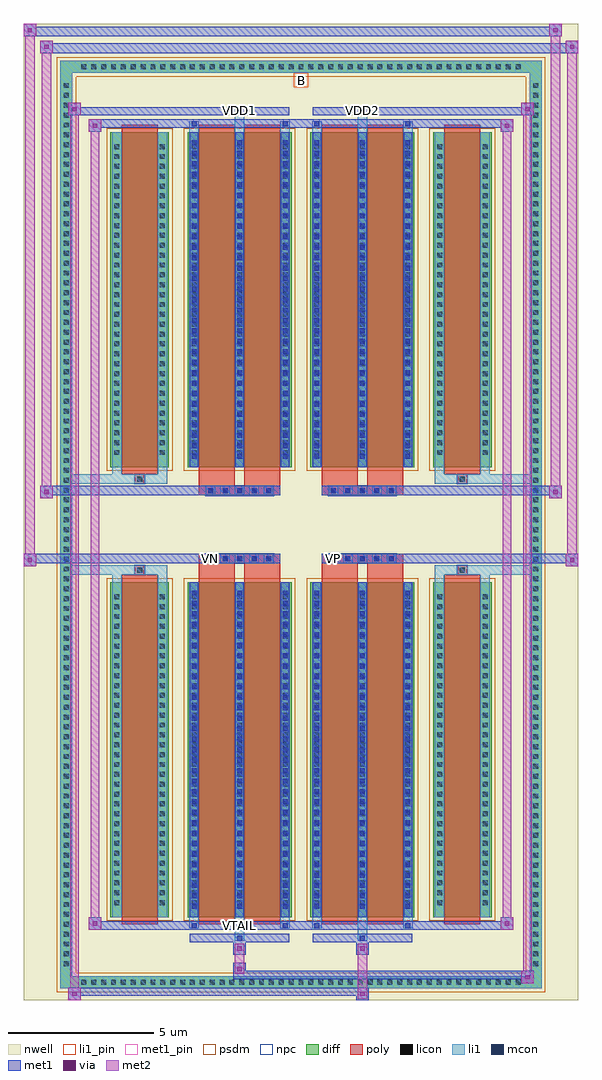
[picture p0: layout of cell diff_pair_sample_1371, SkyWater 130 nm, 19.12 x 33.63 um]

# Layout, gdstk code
import gdstk
lib = gdstk.Library(unit=1e-6, precision=5e-09)
def R(c, l, rs):  # rectangles x0, y0, x1, y1
    for r in rs: c.add(gdstk.rectangle(r[:2], r[2:], *l))
def A(c, l, x, y, w, h, nx, ny, dx, dy):  # array of equal rectangles
    R(c, l, [(x+i*dx, y+j*dy, x+i*dx+w, y+j*dy+h) for i in range(nx) for j in range(ny)])
def P(c, l, *ps):  # polygons
    for p in ps: c.add(gdstk.Polygon(p, *l))
nwell = (64, 20)
diff = (65, 20)
poly = (66, 20)
licon = (66, 44)
li1_pin = (67, 16)
li1 = (67, 20)
mcon = (67, 44)
met1_pin = (68, 16)
met1 = (68, 20)
via = (68, 44)
met2 = (69, 20)
psdm = (94, 20)
npc = (95, 20)

diff_pair_sample_1371 = lib.new_cell('diff_pair_sample_1371')
R(diff_pair_sample_1371, nwell, [(-9.56,-16.38,9.56,17.25), (-6.88,-14.57,-0.01,-0.805), (0.01,-14.57,6.88,-0.805), (-6.88,0.805,-0.01,14.57), (0.01,0.805,6.88,14.57)])
A(diff_pair_sample_1371, diff, -7.685, -15.98, 0.41, 0.41, 45, 2, 0.34, 31.55)
A(diff_pair_sample_1371, diff, -8.29, -15.335, 0.41, 0.41, 1, 90, 0, 0.34)
A(diff_pair_sample_1371, diff, 7.88, -15.335, 0.41, 0.41, 1, 90, 0, 0.34)
R(diff_pair_sample_1371, diff, [(-7.685,-15.98,7.685,-15.57), (-8.29,-15.335,-7.88,15.335), (7.88,-15.335,8.29,15.335), (-6.57,-13.525,-4.55,-1.985), (-3.91,-13.525,-0.32,-1.985), (0.32,-13.525,3.91,-1.985), (4.55,-13.525,6.57,-1.985), (-6.57,1.985,-4.55,13.525), (-3.91,1.985,-0.32,13.525), (0.32,1.985,3.91,13.525), (4.55,1.985,6.57,13.525), (-7.685,15.57,7.685,15.98)])
P(diff_pair_sample_1371, diff, [(8.29,15.98),(-8.29,15.98),(-8.29,-15.57),(-7.88,-15.57),(-7.88,15.57),(7.88,15.57),(7.88,-15.57),(-7.88,-15.57),(-8.29,-15.57),(-8.29,-15.98),(8.29,-15.98)])
A(diff_pair_sample_1371, poly, -3.28, -1.335, 0.33, 0.33, 5, 2, 0.5, 2.34)
A(diff_pair_sample_1371, poly, 0.95, -1.335, 0.33, 0.33, 5, 2, 0.5, 2.34)
R(diff_pair_sample_1371, poly, [(-6.18,-13.775,-4.94,-1.735), (-3.52,-13.775,-2.28,-1.735), (-1.95,-13.775,-0.71,-1.735), (0.71,-13.775,1.95,-1.735), (2.28,-13.775,3.52,-1.735), (4.94,-13.775,6.18,-1.735), (-5.725,-1.735,-5.395,-1.405), (-5.725,-1.735,-5.395,-1.405), (-3.52,-1.735,-2.28,-1.335), (-1.95,-1.735,-0.71,-1.335), (0.71,-1.735,1.95,-1.335), (2.28,-1.735,3.52,-1.335), (5.395,-1.735,5.725,-1.405), (5.395,-1.735,5.725,-1.405), (-3.52,-1.335,-0.71,-1.005), (0.71,-1.335,3.52,-1.005), (-3.52,1.005,-0.71,1.335), (0.71,1.005,3.52,1.335), (-3.52,1.335,-2.28,1.735), (-1.95,1.335,-0.71,1.735), (0.71,1.335,1.95,1.735), (2.28,1.335,3.52,1.735), (-5.725,1.405,-5.395,1.735), (-5.725,1.405,-5.395,1.735), (5.395,1.405,5.725,1.735), (5.395,1.405,5.725,1.735), (-6.18,1.735,-4.94,13.775), (-3.52,1.735,-2.28,13.775), (-1.95,1.735,-0.71,13.775), (0.71,1.735,1.95,13.775), (2.28,1.735,3.52,13.775), (4.94,1.735,6.18,13.775)])
A(diff_pair_sample_1371, licon, -7.565, -15.86, 0.17, 0.17, 45, 2, 0.34, 31.55)
A(diff_pair_sample_1371, licon, -8.17, -15.215, 0.17, 0.17, 1, 90, 0, 0.34)
A(diff_pair_sample_1371, licon, 8, -15.215, 0.17, 0.17, 1, 90, 0, 0.34)
A(diff_pair_sample_1371, licon, -6.43, -13.11, 0.17, 0.17, 1, 32, 0, 0.34)
A(diff_pair_sample_1371, licon, -4.86, -13.11, 0.17, 0.17, 1, 32, 0, 0.34)
A(diff_pair_sample_1371, licon, -3.77, -13.11, 0.17, 0.17, 3, 32, 1.57, 0.34)
A(diff_pair_sample_1371, licon, 0.46, -13.11, 0.17, 0.17, 3, 32, 1.57, 0.34)
A(diff_pair_sample_1371, licon, 4.69, -13.11, 0.17, 0.17, 1, 32, 0, 0.34)
A(diff_pair_sample_1371, licon, 6.26, -13.11, 0.17, 0.17, 1, 32, 0, 0.34)
A(diff_pair_sample_1371, licon, -3.2, -1.255, 0.17, 0.17, 5, 2, 0.5, 2.34)
A(diff_pair_sample_1371, licon, 1.03, -1.255, 0.17, 0.17, 5, 2, 0.5, 2.34)
A(diff_pair_sample_1371, licon, -6.43, 2.4, 0.17, 0.17, 1, 32, 0, 0.34)
A(diff_pair_sample_1371, licon, -4.86, 2.4, 0.17, 0.17, 1, 32, 0, 0.34)
A(diff_pair_sample_1371, licon, -3.77, 2.4, 0.17, 0.17, 3, 32, 1.57, 0.34)
A(diff_pair_sample_1371, licon, 0.46, 2.4, 0.17, 0.17, 3, 32, 1.57, 0.34)
A(diff_pair_sample_1371, licon, 4.69, 2.4, 0.17, 0.17, 1, 32, 0, 0.34)
A(diff_pair_sample_1371, licon, 6.26, 2.4, 0.17, 0.17, 1, 32, 0, 0.34)
R(diff_pair_sample_1371, licon, [(-5.645,-1.655,-5.475,-1.485), (5.475,-1.655,5.645,-1.485), (-5.645,1.485,-5.475,1.655), (5.475,1.485,5.645,1.655)])
R(diff_pair_sample_1371, li1_pin, [(-0.25,15.07,0.25,15.57)])
A(diff_pair_sample_1371, li1, -7.645, -15.94, 0.33, 0.33, 45, 2, 0.34, 31.55)
A(diff_pair_sample_1371, li1, -8.25, -15.295, 0.33, 0.33, 1, 90, 0, 0.34)
A(diff_pair_sample_1371, li1, 7.92, -15.295, 0.33, 0.33, 1, 90, 0, 0.34)
A(diff_pair_sample_1371, li1, -3.85, -13.525, 0.33, 11.54, 3, 2, 1.57, 15.51)
A(diff_pair_sample_1371, li1, 0.38, -13.525, 0.33, 11.54, 3, 2, 1.57, 15.51)
A(diff_pair_sample_1371, li1, -3.77, -13.24, 0.17, 0.17, 3, 31, 1.57, 0.36)
A(diff_pair_sample_1371, li1, -3.77, -13.24, 0.17, 10.97, 3, 2, 1.57, 15.51)
A(diff_pair_sample_1371, li1, 0.46, -13.24, 0.17, 0.17, 3, 31, 1.57, 0.36)
A(diff_pair_sample_1371, li1, 0.46, -13.24, 0.17, 10.97, 3, 2, 1.57, 15.51)
A(diff_pair_sample_1371, li1, -6.51, -13.19, 0.33, 0.33, 1, 32, 0, 0.34)
A(diff_pair_sample_1371, li1, -4.94, -13.19, 0.33, 0.33, 1, 32, 0, 0.34)
A(diff_pair_sample_1371, li1, -3.85, -13.19, 0.33, 0.33, 3, 32, 1.57, 0.34)
A(diff_pair_sample_1371, li1, 0.38, -13.19, 0.33, 0.33, 3, 32, 1.57, 0.34)
A(diff_pair_sample_1371, li1, 4.61, -13.19, 0.33, 0.33, 1, 32, 0, 0.34)
A(diff_pair_sample_1371, li1, 6.18, -13.19, 0.33, 0.33, 1, 32, 0, 0.34)
A(diff_pair_sample_1371, li1, -3.28, -1.335, 0.33, 0.33, 5, 2, 0.5, 2.34)
A(diff_pair_sample_1371, li1, 0.95, -1.335, 0.33, 0.33, 5, 2, 0.5, 2.34)
A(diff_pair_sample_1371, li1, -3.77, 2.27, 0.17, 0.17, 3, 31, 1.57, 0.36)
A(diff_pair_sample_1371, li1, 0.46, 2.27, 0.17, 0.17, 3, 31, 1.57, 0.36)
A(diff_pair_sample_1371, li1, -6.51, 2.32, 0.33, 0.33, 1, 32, 0, 0.34)
A(diff_pair_sample_1371, li1, -4.94, 2.32, 0.33, 0.33, 1, 32, 0, 0.34)
A(diff_pair_sample_1371, li1, -3.85, 2.32, 0.33, 0.33, 3, 32, 1.57, 0.34)
A(diff_pair_sample_1371, li1, 0.38, 2.32, 0.33, 0.33, 3, 32, 1.57, 0.34)
A(diff_pair_sample_1371, li1, 4.61, 2.32, 0.33, 0.33, 1, 32, 0, 0.34)
A(diff_pair_sample_1371, li1, 6.18, 2.32, 0.33, 0.33, 1, 32, 0, 0.34)
R(diff_pair_sample_1371, li1, [(-8.29,-15.98,-7.88,-15.57), (-8.29,-15.98,-7.88,-15.57), (-7.88,-15.98,7.88,-15.57), (7.88,-15.98,8.29,-15.57), (7.88,-15.98,8.29,-15.57), (-8.29,-15.57,-7.88,15.57), (7.88,-15.57,8.29,15.57), (-2.28,-14.33,-1.95,-13.525), (-2.2,-14.33,-2.03,-14.16), (1.95,-14.33,2.28,-13.525), (2.03,-14.33,2.2,-14.16), (-3.85,-13.9,-3.52,-13.525), (-3.77,-13.9,-3.6,-13.73), (-0.71,-13.9,-0.38,-13.525), (-0.63,-13.9,-0.46,-13.73), (0.38,-13.9,0.71,-13.525), (0.46,-13.9,0.63,-13.73), (3.52,-13.9,3.85,-13.525), (3.6,-13.9,3.77,-13.73), (-6.51,-13.525,-6.18,-1.985), (-4.94,-13.525,-4.61,-1.985), (4.61,-13.525,4.94,-1.985), (6.18,-13.525,6.51,-1.985), (-6.51,-1.985,-6.18,-1.405), (-4.94,-1.985,-4.61,-1.405), (4.61,-1.985,4.94,-1.405), (6.18,-1.985,6.51,-1.405), (-8.29,-1.735,-5.725,-1.405), (-6.51,-1.735,-5.725,-1.405), (-5.725,-1.735,-5.395,-1.405), (-5.395,-1.735,-4.61,-1.405), (4.61,-1.735,5.395,-1.405), (5.395,-1.735,5.725,-1.405), (5.395,-1.735,8.29,-1.405), (5.725,-1.735,6.51,-1.405), (-8.29,1.405,-5.725,1.735), (-6.51,1.405,-5.725,1.735), (-6.51,1.405,-6.18,1.985), (-5.725,1.405,-5.395,1.735), (-5.395,1.405,-4.61,1.735), (-4.94,1.405,-4.61,1.985), (4.61,1.405,5.395,1.735), (4.61,1.405,4.94,1.985), (5.395,1.405,5.725,1.735), (5.395,1.405,8.29,1.735), (5.725,1.405,6.51,1.735), (6.18,1.405,6.51,1.985), (-6.51,1.985,-6.18,13.525), (-4.94,1.985,-4.61,13.525), (4.61,1.985,4.94,13.525), (6.18,1.985,6.51,13.525), (-3.85,13.525,-3.52,13.9), (-2.28,13.525,-1.95,14.33), (-0.71,13.525,-0.38,13.9), (0.38,13.525,0.71,13.9), (1.95,13.525,2.28,14.33), (3.52,13.525,3.85,13.9), (-3.77,13.73,-3.6,13.9), (-0.63,13.73,-0.46,13.9), (0.46,13.73,0.63,13.9), (3.6,13.73,3.77,13.9), (-2.2,14.16,-2.03,14.33), (2.03,14.16,2.2,14.33), (-8.29,15.57,-7.88,15.98), (-8.29,15.57,-7.88,15.98), (-7.88,15.57,7.88,15.98), (7.88,15.57,8.29,15.98), (7.88,15.57,8.29,15.98)])
A(diff_pair_sample_1371, mcon, -3.77, -13.24, 0.17, 0.17, 3, 31, 1.57, 0.36)
A(diff_pair_sample_1371, mcon, 0.46, -13.24, 0.17, 0.17, 3, 31, 1.57, 0.36)
A(diff_pair_sample_1371, mcon, -3.2, -1.255, 0.17, 0.17, 5, 2, 0.5, 2.34)
A(diff_pair_sample_1371, mcon, 1.03, -1.255, 0.17, 0.17, 5, 2, 0.5, 2.34)
A(diff_pair_sample_1371, mcon, -3.77, 2.27, 0.17, 0.17, 3, 31, 1.57, 0.36)
A(diff_pair_sample_1371, mcon, 0.46, 2.27, 0.17, 0.17, 3, 31, 1.57, 0.36)
R(diff_pair_sample_1371, mcon, [(-2.2,-14.33,-2.03,-14.16), (2.03,-14.33,2.2,-14.16), (-3.77,-13.9,-3.6,-13.73), (-0.63,-13.9,-0.46,-13.73), (0.46,-13.9,0.63,-13.73), (3.6,-13.9,3.77,-13.73), (-3.77,13.73,-3.6,13.9), (-0.63,13.73,-0.46,13.9), (0.46,13.73,0.63,13.9), (3.6,13.73,3.77,13.9), (-2.2,14.16,-2.03,14.33), (2.03,14.16,2.2,14.33)])
R(diff_pair_sample_1371, met1_pin, [(-2.25,-13.94,-1.98,-13.67), (-3.25,-1.295,-2.98,-1.025), (0.98,-1.295,1.25,-1.025), (-2.25,14.12,-1.98,14.39), (1.98,14.12,2.25,14.39)])
A(diff_pair_sample_1371, met1, -3.83, -13.525, 0.29, 11.54, 3, 2, 1.57, 15.51)
A(diff_pair_sample_1371, met1, 0.4, -13.525, 0.29, 11.54, 3, 2, 1.57, 15.51)
A(diff_pair_sample_1371, met1, -3.83, -13.3, 0.29, 0.29, 3, 31, 1.57, 0.36)
A(diff_pair_sample_1371, met1, 0.4, -13.3, 0.29, 0.29, 3, 31, 1.57, 0.36)
A(diff_pair_sample_1371, met1, -3.26, -1.315, 0.29, 0.29, 5, 2, 0.5, 2.34)
A(diff_pair_sample_1371, met1, 0.97, -1.315, 0.29, 0.29, 5, 2, 0.5, 2.34)
A(diff_pair_sample_1371, met1, -3.83, 2.21, 0.29, 0.29, 3, 31, 1.57, 0.36)
A(diff_pair_sample_1371, met1, 0.4, 2.21, 0.29, 0.29, 3, 31, 1.57, 0.36)
R(diff_pair_sample_1371, met1, [(-8.02,-16.38,-7.59,-15.95), (1.9,-16.38,2.33,-15.95), (-8.02,-16.24,2.33,-15.95), (7.59,-15.81,8.02,-15.38), (-2.33,-15.67,8.02,-15.38), (-2.33,-15.53,-1.9,-15.1), (-2.33,-14.82,-1.9,-14.39), (1.9,-14.82,2.33,-14.39), (-3.83,-14.39,-0.4,-14.1), (-2.26,-14.39,-1.97,-14.1), (0.4,-14.39,3.83,-14.1), (1.97,-14.39,2.26,-14.1), (-7.31,-13.96,-6.88,-13.53), (-7.31,-13.96,-3.83,-13.67), (-3.83,-13.96,-3.54,-13.67), (-3.83,-13.96,-0.4,-13.67), (-0.69,-13.96,-0.4,-13.67), (-0.4,-13.96,0.4,-13.67), (0.4,-13.96,0.69,-13.67), (0.4,-13.96,3.83,-13.67), (3.54,-13.96,3.83,-13.67), (3.83,-13.96,7.31,-13.67), (6.88,-13.96,7.31,-13.53), (-9.56,-1.435,-9.13,-1.005), (9.13,-1.435,9.56,-1.005), (-9.56,-1.335,-0.71,-1.005), (-3.52,-1.335,-0.71,-1.005), (0.71,-1.335,3.52,-1.005), (0.71,-1.335,9.56,-1.005), (-8.99,0.905,-8.56,1.335), (8.56,0.905,8.99,1.335), (-8.99,1.005,-3.52,1.335), (-3.52,1.005,-0.71,1.335), (0.71,1.005,3.52,1.335), (3.52,1.005,8.99,1.335), (-7.31,13.53,-6.88,13.96), (6.88,13.53,7.31,13.96), (-7.31,13.67,-3.83,13.96), (-3.83,13.67,-3.54,13.96), (-3.83,13.67,-0.4,13.96), (-0.69,13.67,-0.4,13.96), (-0.4,13.67,0.4,13.96), (0.4,13.67,0.69,13.96), (0.4,13.67,3.83,13.96), (3.54,13.67,3.83,13.96), (3.83,13.67,7.31,13.96), (-8.02,14.1,-7.59,14.53), (-8.02,14.1,-3.83,14.39), (-3.83,14.1,-0.4,14.39), (-2.26,14.1,-1.97,14.39), (0.4,14.1,3.83,14.39), (1.97,14.1,2.26,14.39), (3.83,14.1,8.02,14.39), (7.59,14.1,8.02,14.53), (-8.99,16.25,-8.56,16.68), (-8.99,16.25,-6.88,16.58), (-6.88,16.25,6.88,16.58), (6.88,16.25,9.56,16.58), (9.13,16.25,9.56,16.68), (-9.56,16.82,-9.13,17.25), (-9.56,16.82,-6.88,17.15), (-6.88,16.82,6.88,17.15), (6.88,16.82,8.99,17.15), (8.56,16.82,8.99,17.25)])
R(diff_pair_sample_1371, via, [(-7.88,-16.24,-7.73,-16.09), (2.04,-16.24,2.19,-16.09), (7.73,-15.67,7.88,-15.52), (-2.19,-15.39,-2.04,-15.24), (-2.19,-14.68,-2.04,-14.53), (2.04,-14.68,2.19,-14.53), (-7.17,-13.82,-7.02,-13.67), (7.02,-13.82,7.17,-13.67), (-9.42,-1.295,-9.27,-1.145), (9.27,-1.295,9.42,-1.145), (-8.85,1.045,-8.7,1.195), (8.7,1.045,8.85,1.195), (-7.17,13.67,-7.02,13.82), (7.02,13.67,7.17,13.82), (-7.88,14.24,-7.73,14.39), (7.73,14.24,7.88,14.39), (-8.85,16.39,-8.7,16.54), (9.27,16.39,9.42,16.54), (-9.42,16.96,-9.27,17.11), (8.7,16.96,8.85,17.11)])
R(diff_pair_sample_1371, met2, [(-8.02,-16.38,-7.59,-15.95), (-7.95,-16.38,-7.66,14.53), (-7.66,-16.38,-7.59,-15.95), (-7.97,-16.33,-7.64,-16), (1.95,-16.33,2.28,-16), (1.95,-16,2.28,-14.77), (7.59,-15.81,8.02,-15.38), (7.66,-15.81,7.95,14.53), (7.95,-15.81,8.02,-15.38), (7.64,-15.76,7.97,-15.43), (-2.28,-15.48,-1.95,-15.15), (-2.28,-15.15,-1.95,-14.77), (-2.28,-14.77,-1.95,-14.44), (1.95,-14.77,2.28,-14.44), (-7.31,-13.96,-6.88,-13.53), (-7.24,-13.96,-6.95,13.96), (-6.95,-13.96,-6.88,-13.53), (6.88,-13.96,7.31,-13.53), (6.95,-13.96,7.24,13.96), (7.24,-13.96,7.31,-13.53), (-7.26,-13.91,-6.93,-13.58), (6.93,-13.91,7.26,-13.58), (-9.56,-1.435,-9.13,-1.005), (-9.51,-1.435,-9.18,17.25), (-9.18,-1.435,-9.13,-1.005), (9.13,-1.435,9.56,-1.005), (9.18,-1.435,9.51,16.68), (9.51,-1.435,9.56,-1.005), (-9.51,-1.385,-9.18,-1.055), (9.18,-1.385,9.51,-1.055), (-8.99,0.905,-8.56,1.335), (-8.94,0.905,-8.61,16.68), (-8.61,0.905,-8.56,1.335), (8.56,0.905,8.99,1.335), (8.61,0.905,8.94,17.25), (8.94,0.905,8.99,1.335), (-8.94,0.955,-8.61,1.285), (8.61,0.955,8.94,1.285), (-7.31,13.53,-6.88,13.96), (-6.95,13.53,-6.88,13.96), (6.88,13.53,7.31,13.96), (7.24,13.53,7.31,13.96), (-7.26,13.58,-6.93,13.91), (6.93,13.58,7.26,13.91), (-8.02,14.1,-7.59,14.53), (-7.66,14.1,-7.59,14.53), (7.59,14.1,8.02,14.53), (7.95,14.1,8.02,14.53), (-7.97,14.15,-7.64,14.48), (7.64,14.15,7.97,14.48), (-8.99,16.25,-8.56,16.68), (-8.61,16.25,-8.56,16.68), (9.13,16.25,9.56,16.68), (9.51,16.25,9.56,16.68), (-8.94,16.3,-8.61,16.63), (9.18,16.3,9.51,16.63), (-9.56,16.82,-9.13,17.25), (-9.18,16.82,-9.13,17.25), (8.56,16.82,8.99,17.25), (8.94,16.82,8.99,17.25), (-9.51,16.87,-9.18,17.2), (8.61,16.87,8.94,17.2)])
R(diff_pair_sample_1371, psdm, [(-6.7,-13.655,-4.42,-1.855), (-4.04,-13.655,-0.19,-1.855), (0.19,-13.655,4.04,-1.855), (4.42,-13.655,6.7,-1.855), (-6.7,1.855,-4.42,13.655), (-4.04,1.855,-0.19,13.655), (0.19,1.855,4.04,13.655), (4.42,1.855,6.7,13.655)])
P(diff_pair_sample_1371, psdm, [(8.42,16.11),(-8.42,16.11),(-8.42,-15.44),(-7.75,-15.44),(-7.75,15.44),(7.75,15.44),(7.75,-15.44),(-7.75,-15.44),(-8.42,-15.44),(-8.42,-16.11),(8.42,-16.11)])
A(diff_pair_sample_1371, npc, -3.3, -1.355, 0.37, 0.37, 5, 2, 0.5, 2.34)
A(diff_pair_sample_1371, npc, 0.93, -1.355, 0.37, 0.37, 5, 2, 0.5, 2.34)
R(diff_pair_sample_1371, npc, [(-5.745,-1.755,-5.375,-1.385), (5.375,-1.755,5.745,-1.385), (-3.3,-1.355,-2.43,-0.985), (-3.3,-1.355,-2.43,-0.985), (-2.8,-1.355,-1.93,-0.985), (-2.8,-1.355,-1.93,-0.985), (-2.3,-1.355,-1.43,-0.985), (-2.3,-1.355,-1.43,-0.985), (-1.8,-1.355,-0.93,-0.985), (-1.8,-1.355,-0.93,-0.985), (0.93,-1.355,1.8,-0.985), (0.93,-1.355,1.8,-0.985), (1.43,-1.355,2.3,-0.985), (1.43,-1.355,2.3,-0.985), (1.93,-1.355,2.8,-0.985), (1.93,-1.355,2.8,-0.985), (2.43,-1.355,3.3,-0.985), (2.43,-1.355,3.3,-0.985), (-3.3,0.985,-2.43,1.355), (-3.3,0.985,-2.43,1.355), (-2.8,0.985,-1.93,1.355), (-2.8,0.985,-1.93,1.355), (-2.3,0.985,-1.43,1.355), (-2.3,0.985,-1.43,1.355), (-1.8,0.985,-0.93,1.355), (-1.8,0.985,-0.93,1.355), (0.93,0.985,1.8,1.355), (0.93,0.985,1.8,1.355), (1.43,0.985,2.3,1.355), (1.43,0.985,2.3,1.355), (1.93,0.985,2.8,1.355), (1.93,0.985,2.8,1.355), (2.43,0.985,3.3,1.355), (2.43,0.985,3.3,1.355), (-5.745,1.385,-5.375,1.755), (5.375,1.385,5.745,1.755)])
diff_pair_sample_1371.add(gdstk.Label('VTAIL', (-2.115,-13.805), layer=68, texttype=5))
diff_pair_sample_1371.add(gdstk.Label('VN', (-3.115,-1.16), layer=68, texttype=5))
diff_pair_sample_1371.add(gdstk.Label('VP', (1.115,-1.16), layer=68, texttype=5))
diff_pair_sample_1371.add(gdstk.Label('B', (0,15.32), layer=67, texttype=5))
diff_pair_sample_1371.add(gdstk.Label('VDD2', (2.115,14.255), layer=68, texttype=5))
diff_pair_sample_1371.add(gdstk.Label('VDD1', (-2.115,14.255), layer=68, texttype=5))

lib.write_gds('diff_pair_sample_1371.gds')
